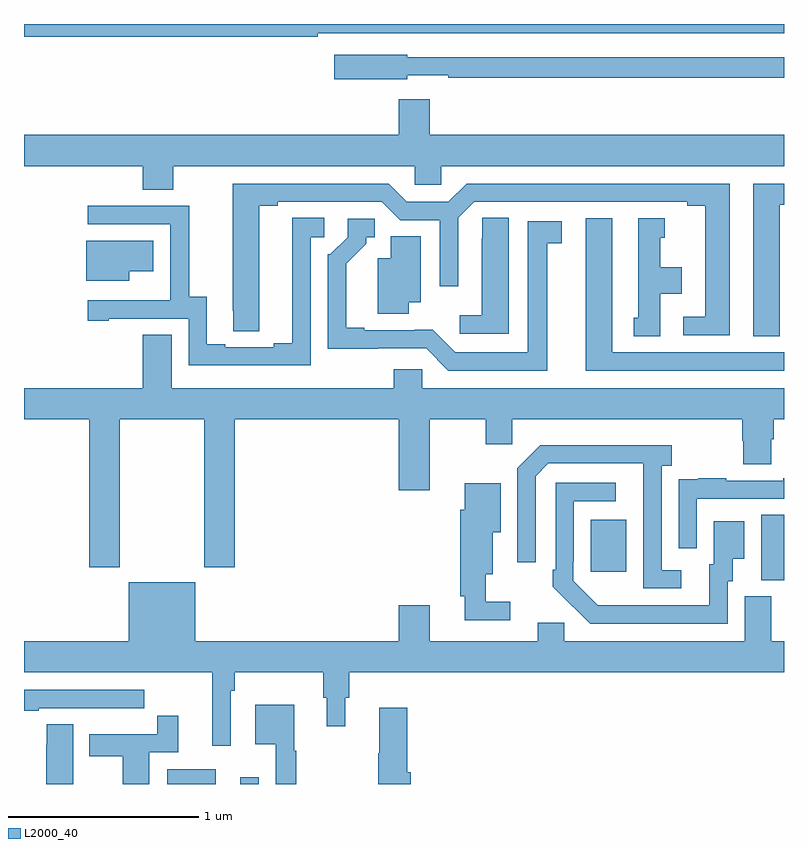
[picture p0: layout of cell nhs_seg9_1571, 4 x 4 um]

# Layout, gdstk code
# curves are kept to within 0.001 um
import gdstk
lib = gdstk.Library(unit=1e-6, precision=1e-09)
def R(c, l, rs):  # rectangles x0, y0, x1, y1
    for r in rs: c.add(gdstk.rectangle(r[:2], r[2:], *l))
def P(c, l, *ps):  # polygons
    for p in ps: c.add(gdstk.Polygon(p, *l))
L2000_40 = (2000, 40)

nhs_seg9_1571 = lib.new_cell('nhs_seg9_1571')
R(nhs_seg9_1571, L2000_40, [(199.754,1194.5,200.008,1194.577), (200.138,1194.5,200.235,1194.535), (202.88,1195.573,203,1195.916), (201.983,1195.617,202.171,1195.891)])
P(nhs_seg9_1571, L2000_40, [(200.546,1198.452),(203,1198.452),(203,1198.5),(199,1198.5),(199,1198.432),(200.546,1198.432)],
  [(201.018,1198.23),(201.232,1198.23),(201.232,1198.218),(203,1198.218),(203,1198.326),(201.018,1198.326),(201.018,1198.339),(200.634,1198.339),(200.634,1198.21),(201.018,1198.21)],
  [(199.785,1197.752),(201.057,1197.752),(201.057,1197.654),(201.195,1197.654),(201.195,1197.752),(203,1197.752),(203,1197.916),(201.136,1197.916),(201.136,1198.105),(200.972,1198.105),(200.972,1197.916),(199,1197.916),(199,1197.752),(199.625,1197.752),(199.625,1197.628),(199.785,1197.628)],
  [(202.714,1197.66),(201.329,1197.66),(201.233,1197.564),(201.015,1197.564),(200.919,1197.66),(200.099,1197.66),(200.1,1196.884),(200.239,1196.884),(200.239,1197.544),(200.335,1197.544),(200.335,1197.564),(200.883,1197.564),(200.979,1197.468),(201.189,1197.468),(201.189,1197.12),(201.285,1197.12),(201.285,1197.48),(201.369,1197.564),(202.49,1197.564),(202.49,1197.544),(202.586,1197.544),(202.586,1196.958),(202.47,1196.958),(202.47,1196.862),(202.714,1196.862)],
  [(202.978,1197.549),(203,1197.549),(203,1197.66),(202.838,1197.66),(202.838,1196.857),(202.978,1196.857)],
  [(200.508,1197.378),(200.581,1197.378),(200.581,1197.479),(200.411,1197.479),(200.411,1196.819),(200.315,1196.819),(200.315,1196.799),(200.059,1196.799),(200.059,1196.814),(199.963,1196.814),(199.963,1197.065),(199.869,1197.065),(199.869,1197.543),(199.335,1197.543),(199.335,1197.447),(199.77,1197.447),(199.77,1197.046),(199.769,1197.046),(199.769,1197.045),(199.335,1197.045),(199.335,1196.937),(199.447,1196.937),(199.447,1196.949),(199.866,1196.949),(199.866,1196.703),(200.508,1196.703)],
  [(201.55,1197.479),(201.411,1197.479),(201.411,1197.371),(201.41,1197.371),(201.41,1196.968),(201.294,1196.968),(201.294,1196.871),(201.55,1196.871)],
  [(203,1196.772),(202.096,1196.772),(202.096,1197.478),(201.956,1197.478),(201.956,1196.676),(203,1196.676)],
  [(202.348,1197.08),(202.462,1197.08),(202.462,1197.22),(202.348,1197.22),(202.348,1197.375),(202.372,1197.375),(202.372,1197.478),(202.232,1197.478),(202.232,1196.955),(202.208,1196.955),(202.208,1196.857),(202.348,1196.857)],
  [(201.754,1197.346),(201.829,1197.346),(201.829,1197.462),(201.65,1197.462),(201.65,1196.772),(201.27,1196.772),(201.152,1196.89),(200.791,1196.889),(200.791,1196.902),(200.695,1196.902),(200.695,1197.238),(200.8,1197.343),(200.8,1197.378),(200.845,1197.378),(200.845,1197.474),(200.703,1197.474),(200.703,1197.378),(200.613,1197.288),(200.598,1197.288),(200.598,1196.792),(201.117,1196.793),(201.234,1196.676),(201.754,1196.676)],
  [(201.025,1197.035),(201.088,1197.035),(201.088,1197.383),(200.93,1197.383),(200.93,1197.268),(200.861,1197.268),(200.861,1196.974),(201.025,1196.974)],
  [(199.555,1197.2),(199.681,1197.2),(199.681,1197.358),(199.328,1197.358),(199.328,1197.149),(199.555,1197.149)],
  [(199.503,1196.42),(199.948,1196.42),(199.948,1195.641),(200.108,1195.641),(200.108,1196.42),(200.972,1196.42),(200.972,1196.046),(201.136,1196.046),(201.136,1196.42),(201.431,1196.42),(201.431,1196.289),(201.57,1196.289),(201.57,1196.42),(202.781,1196.42),(202.781,1196.307),(202.786,1196.307),(202.786,1196.182),(202.933,1196.182),(202.933,1196.314),(202.946,1196.314),(202.946,1196.42),(203,1196.42),(203,1196.584),(201.096,1196.584),(201.096,1196.682),(200.945,1196.682),(200.945,1196.584),(199.777,1196.584),(199.777,1196.864),(199.625,1196.864),(199.625,1196.584),(199,1196.584),(199,1196.42),(199.343,1196.42),(199.343,1195.641),(199.503,1195.641)],
  [(202.459,1195.626),(202.356,1195.626),(202.356,1196.174),(202.408,1196.174),(202.408,1196.284),(201.718,1196.284),(201.597,1196.163),(201.597,1195.668),(201.693,1195.668),(201.693,1196.121),(201.759,1196.187),(202.259,1196.187),(202.26,1195.53),(202.459,1195.53)],
  [(202.542,1196.001),(203,1196.001),(203,1196.11),(202.997,1196.11),(202.997,1196.097),(202.697,1196.097),(202.697,1196.11),(202.549,1196.11),(202.549,1196.103),(202.447,1196.103),(202.447,1195.994),(202.446,1195.994),(202.446,1195.74),(202.542,1195.74)],
  [(202.704,1195.566),(202.729,1195.566),(202.729,1195.685),(202.792,1195.685),(202.792,1195.882),(202.631,1195.882),(202.631,1195.656),(202.607,1195.656),(202.607,1195.44),(202.02,1195.441),(201.891,1195.569),(201.891,1195.669),(201.894,1195.669),(201.894,1195.989),(202.114,1195.989),(202.114,1196.085),(201.798,1196.085),(201.798,1195.627),(201.783,1195.627),(201.783,1195.539),(201.98,1195.344),(202.704,1195.344)],
  [(201.559,1195.459),(201.43,1195.459),(201.43,1195.604),(201.466,1195.604),(201.466,1195.826),(201.508,1195.826),(201.508,1196.083),(201.32,1196.083),(201.32,1195.944),(201.296,1195.944),(201.296,1195.487),(201.32,1195.487),(201.32,1195.362),(201.559,1195.362)],
  [(203,1195.252),(202.933,1195.252),(202.933,1195.488),(202.793,1195.488),(202.793,1195.252),(201.843,1195.252),(201.843,1195.35),(201.704,1195.35),(201.704,1195.252),(201.136,1195.252),(201.136,1195.441),(200.972,1195.441),(200.972,1195.252),(199.9,1195.252),(199.9,1195.561),(199.55,1195.561),(199.55,1195.252),(199,1195.252),(199,1195.088),(199.991,1195.088),(199.991,1194.702),(200.088,1194.702),(200.088,1194.992),(200.108,1194.992),(200.108,1195.088),(200.575,1195.088),(200.575,1194.954),(200.594,1194.954),(200.594,1194.804),(200.692,1194.804),(200.692,1194.954),(200.711,1194.954),(200.711,1195.088),(203,1195.088)],
  [(199.078,1194.9),(199.354,1194.9),(199.354,1194.899),(199.52,1194.899),(199.52,1194.9),(199.633,1194.9),(199.633,1194.996),(199,1194.996),(199,1194.885),(199.078,1194.885)],
  [(200.434,1194.675),(200.422,1194.675),(200.422,1194.916),(200.216,1194.916),(200.216,1194.71),(200.325,1194.71),(200.325,1194.5),(200.434,1194.5)],
  [(201.035,1194.561),(201.017,1194.561),(201.017,1194.901),(200.87,1194.901),(200.87,1194.661),(200.864,1194.661),(200.864,1194.5),(201.035,1194.5)],
  [(199.66,1194.666),(199.811,1194.666),(199.811,1194.859),(199.702,1194.859),(199.702,1194.762),(199.343,1194.762),(199.343,1194.646),(199.52,1194.646),(199.52,1194.5),(199.66,1194.5)],
  [(199.258,1194.815),(199.119,1194.815),(199.119,1194.707),(199.118,1194.707),(199.118,1194.5),(199.258,1194.5)])

lib.write_gds('nhs_seg9_1571.gds')
